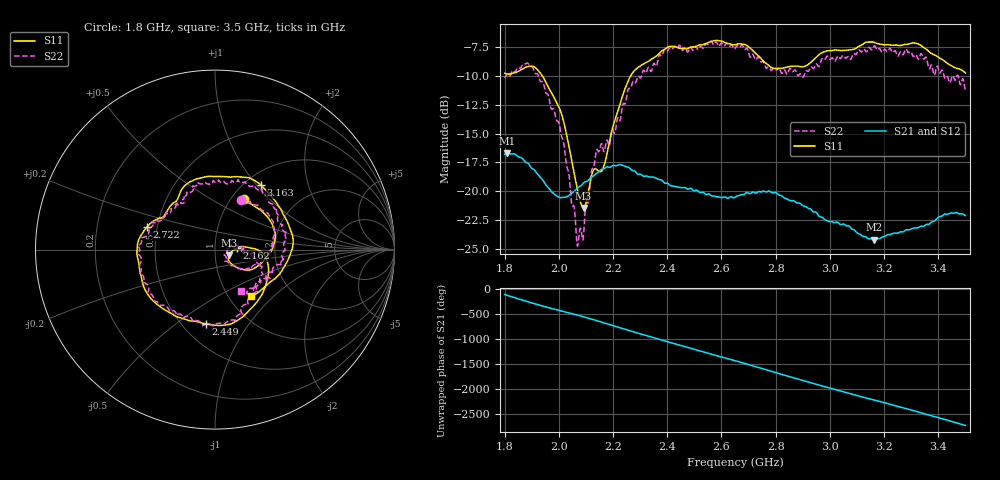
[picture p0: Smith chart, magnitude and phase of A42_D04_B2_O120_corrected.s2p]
! Created with skrf 1.9.0 (http://scikit-rf.org).
# Hz S RI R 50.0
!freq ReS11 ImS11 ReS21 ImS21 ReS12 ImS12 ReS22 ImS22
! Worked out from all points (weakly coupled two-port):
!   1601 points, 1.8 GHz to 3.5 GHz, reference 50 ohm
!   highest |S21| = -16.70 dB at 1.811 GHz (marker M1); lowest = -24.2 dB at 3.162 GHz (marker M2)
!   lowest |S11| = -21.5 dB at 2.091 GHz (marker M3), VSWR 1.18, Z = 58.4 - j3.78 ohm
!   |S11| at or under -10 dB: 1.939 GHz to 2.265 GHz (325.6 MHz wide, 15.5 % of centre)
!   |S22| runs from -24.8 to -7.0 dB; largest |S21 - S12| = 0.0023
!   S11 on the Smith chart (normalised r, x): 1.8 GHz: 1.14, +0.72; 2.162 GHz: 1.28, +0.02; 2.449 GHz: 0.65, -0.65; 2.722 GHz: 0.44, +0.13; 3.163 GHz: 1.18, +1.06; 3.5 GHz: 1.27, -0.73
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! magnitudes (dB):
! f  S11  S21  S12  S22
! 1.8 GHz  -9.8  -16.8  -16.8  -10.2
! 1.811 GHz  -9.8  -16.7  -16.7  -9.9
! 1.882 GHz  -9.2  -17.5  -17.5  -8.9
! 1.942 GHz  -10.1  -19.1  -19.1  -10.6
! 2.011 GHz  -13.4  -20.5  -20.5  -15.3
! 2.067 GHz  -19.6  -19.8  -19.8  -24.5
! 2.084 GHz  -21.2  -19.5  -19.4  -23.6
! 2.091 GHz  -21.5  -19.3  -19.3  -23.9
! 2.129 GHz  -18.1  -18.7  -18.6  -17.8
! 2.162 GHz  -18.1  -18.1  -18.0  -16.2
! 2.26 GHz  -10.2  -18.0  -18.0  -11.1
! 2.367 GHz  -8.1  -19.0  -18.9  -8.4
! 2.449 GHz  -7.6  -19.7  -19.7  -7.5
! 2.65 GHz  -7.3  -20.5  -20.5  -7.6
! 2.722 GHz  -8.0  -20.1  -20.0  -8.5
! 2.796 GHz  -9.3  -20.1  -20.1  -9.3
! 2.934 GHz  -8.7  -21.7  -21.6  -9.3
! 3.162 GHz  -7.1  -24.2  -24.1  -7.5
! 3.163 GHz  -7.1  -24.2  -24.2  -7.4
! 3.217 GHz  -7.3  -23.8  -23.7  -7.7
! 3.324 GHz  -7.2  -23.2  -23.1  -8.5
! 3.5 GHz  -9.7  -22.1  -22.1  -11.3
